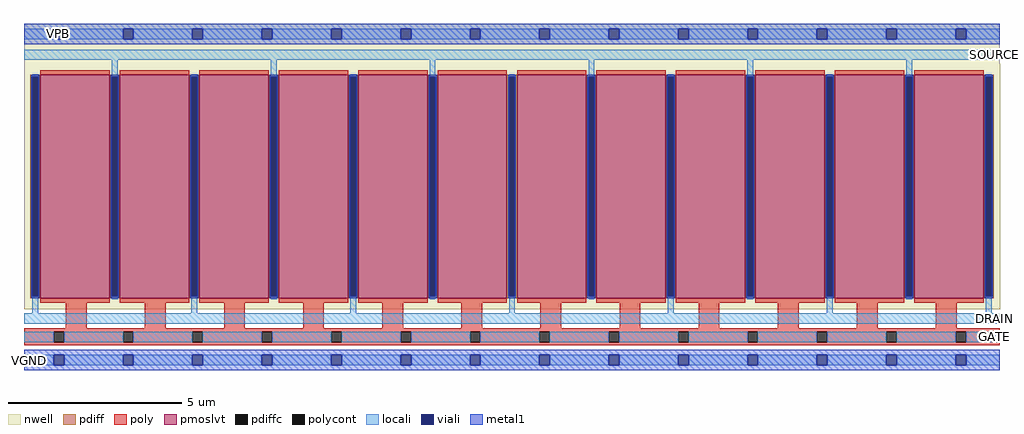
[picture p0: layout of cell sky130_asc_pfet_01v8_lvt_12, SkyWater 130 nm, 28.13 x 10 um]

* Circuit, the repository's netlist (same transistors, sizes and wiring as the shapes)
* NGSPICE file created from sky130_asc_pfet_01v8_lvt_12.ext - technology: sky130A

.subckt sky130_asc_pfet_01v8_lvt_12 GATE SOURCE DRAIN VGND VPWR
X0 SOURCE GATE DRAIN VPWR sky130_fd_pr__pfet_01v8_lvt ad=1.1223e+13p pd=8.088e+07u as=1.30935e+13p ps=9.436e+07u w=6.45e+06u l=2e+06u
X1 SOURCE GATE DRAIN VPWR sky130_fd_pr__pfet_01v8_lvt ad=0p pd=0u as=0p ps=0u w=6.45e+06u l=2e+06u
X2 DRAIN GATE SOURCE VPWR sky130_fd_pr__pfet_01v8_lvt ad=0p pd=0u as=0p ps=0u w=6.45e+06u l=2e+06u
X3 DRAIN GATE SOURCE VPWR sky130_fd_pr__pfet_01v8_lvt ad=0p pd=0u as=0p ps=0u w=6.45e+06u l=2e+06u
X4 SOURCE GATE DRAIN VPWR sky130_fd_pr__pfet_01v8_lvt ad=0p pd=0u as=0p ps=0u w=6.45e+06u l=2e+06u
X5 DRAIN GATE SOURCE VPWR sky130_fd_pr__pfet_01v8_lvt ad=0p pd=0u as=0p ps=0u w=6.45e+06u l=2e+06u
X6 DRAIN GATE SOURCE VPWR sky130_fd_pr__pfet_01v8_lvt ad=0p pd=0u as=0p ps=0u w=6.45e+06u l=2e+06u
X7 DRAIN GATE SOURCE VPWR sky130_fd_pr__pfet_01v8_lvt ad=0p pd=0u as=0p ps=0u w=6.45e+06u l=2e+06u
X8 SOURCE GATE DRAIN VPWR sky130_fd_pr__pfet_01v8_lvt ad=0p pd=0u as=0p ps=0u w=6.45e+06u l=2e+06u
X9 SOURCE GATE DRAIN VPWR sky130_fd_pr__pfet_01v8_lvt ad=0p pd=0u as=0p ps=0u w=6.45e+06u l=2e+06u
X10 DRAIN GATE SOURCE VPWR sky130_fd_pr__pfet_01v8_lvt ad=0p pd=0u as=0p ps=0u w=6.45e+06u l=2e+06u
X11 SOURCE GATE DRAIN VPWR sky130_fd_pr__pfet_01v8_lvt ad=0p pd=0u as=0p ps=0u w=6.45e+06u l=2e+06u
.ends

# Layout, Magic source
magic
tech sky130A
magscale 1 2
<< nwell >>
rect 2 1707 5626 1940
rect 1 293 5627 1707
<< pmoslvt >>
rect 95 355 495 1645
rect 553 355 953 1645
rect 1011 355 1411 1645
rect 1469 355 1869 1645
rect 1927 355 2327 1645
rect 2385 355 2785 1645
rect 2843 355 3243 1645
rect 3301 355 3701 1645
rect 3759 355 4159 1645
rect 4217 355 4617 1645
rect 4675 355 5075 1645
rect 5133 355 5533 1645
<< pdiff >>
rect 37 1633 95 1645
rect 37 367 49 1633
rect 83 367 95 1633
rect 37 355 95 367
rect 495 1633 553 1645
rect 495 367 507 1633
rect 541 367 553 1633
rect 495 355 553 367
rect 953 1633 1011 1645
rect 953 367 965 1633
rect 999 367 1011 1633
rect 953 355 1011 367
rect 1411 1633 1469 1645
rect 1411 367 1423 1633
rect 1457 367 1469 1633
rect 1411 355 1469 367
rect 1869 1633 1927 1645
rect 1869 367 1881 1633
rect 1915 367 1927 1633
rect 1869 355 1927 367
rect 2327 1633 2385 1645
rect 2327 367 2339 1633
rect 2373 367 2385 1633
rect 2327 355 2385 367
rect 2785 1633 2843 1645
rect 2785 367 2797 1633
rect 2831 367 2843 1633
rect 2785 355 2843 367
rect 3243 1633 3301 1645
rect 3243 367 3255 1633
rect 3289 367 3301 1633
rect 3243 355 3301 367
rect 3701 1633 3759 1645
rect 3701 367 3713 1633
rect 3747 367 3759 1633
rect 3701 355 3759 367
rect 4159 1633 4217 1645
rect 4159 367 4171 1633
rect 4205 367 4217 1633
rect 4159 355 4217 367
rect 4617 1633 4675 1645
rect 4617 367 4629 1633
rect 4663 367 4675 1633
rect 4617 355 4675 367
rect 5075 1633 5133 1645
rect 5075 367 5087 1633
rect 5121 367 5133 1633
rect 5075 355 5133 367
rect 5533 1633 5591 1645
rect 5533 367 5545 1633
rect 5579 367 5591 1633
rect 5533 355 5591 367
<< pdiffc >>
rect 49 367 83 1633
rect 507 367 541 1633
rect 965 367 999 1633
rect 1423 367 1457 1633
rect 1881 367 1915 1633
rect 2339 367 2373 1633
rect 2797 367 2831 1633
rect 3255 367 3289 1633
rect 3713 367 3747 1633
rect 4171 367 4205 1633
rect 4629 367 4663 1633
rect 5087 367 5121 1633
rect 5545 367 5579 1633
<< poly >>
rect 95 1645 495 1671
rect 553 1645 953 1671
rect 1011 1645 1411 1671
rect 1469 1645 1869 1671
rect 1927 1645 2327 1671
rect 2385 1645 2785 1671
rect 2843 1645 3243 1671
rect 3301 1645 3701 1671
rect 3759 1645 4159 1671
rect 4217 1645 4617 1671
rect 4675 1645 5075 1671
rect 5133 1645 5533 1671
rect 95 329 495 355
rect 553 329 953 355
rect 1011 329 1411 355
rect 1469 329 1869 355
rect 1927 329 2327 355
rect 2385 329 2785 355
rect 2843 329 3243 355
rect 3301 329 3701 355
rect 3759 329 4159 355
rect 4217 329 4617 355
rect 4675 329 5075 355
rect 5133 329 5533 355
rect 242 184 362 329
rect 698 184 818 329
rect 1154 184 1274 329
rect 1610 184 1730 329
rect 2066 184 2186 329
rect 2522 184 2642 329
rect 2978 184 3098 329
rect 3434 184 3554 329
rect 3890 184 4010 329
rect 4346 184 4466 329
rect 4802 184 4922 329
rect 5258 184 5378 329
rect 2 164 5626 184
rect 2 104 172 164
rect 232 104 572 164
rect 632 104 972 164
rect 1032 104 1372 164
rect 1432 104 1772 164
rect 1832 104 2172 164
rect 2232 104 2572 164
rect 2632 104 2972 164
rect 3032 104 3372 164
rect 3432 104 3772 164
rect 3832 104 4172 164
rect 4232 104 4572 164
rect 4632 104 4972 164
rect 5032 104 5372 164
rect 5432 104 5626 164
rect 2 84 5626 104
<< polycont >>
rect 172 104 232 164
rect 572 104 632 164
rect 972 104 1032 164
rect 1372 104 1432 164
rect 1772 104 1832 164
rect 2172 104 2232 164
rect 2572 104 2632 164
rect 2972 104 3032 164
rect 3372 104 3432 164
rect 3772 104 3832 164
rect 4172 104 4232 164
rect 4572 104 4632 164
rect 4972 104 5032 164
rect 5372 104 5432 164
<< locali >>
rect 2 1850 172 1910
rect 232 1850 572 1910
rect 632 1850 972 1910
rect 1032 1850 1372 1910
rect 1432 1850 1772 1910
rect 1832 1850 2172 1910
rect 2232 1850 2572 1910
rect 2632 1850 2972 1910
rect 3032 1850 3372 1910
rect 3432 1850 3772 1910
rect 3832 1850 4172 1910
rect 4232 1850 4572 1910
rect 4632 1850 4972 1910
rect 5032 1850 5372 1910
rect 5432 1850 5626 1910
rect 2 1730 5626 1790
rect 49 1633 83 1649
rect 49 270 83 367
rect 507 1633 541 1730
rect 507 351 541 367
rect 965 1633 999 1649
rect 965 270 999 367
rect 1423 1633 1457 1730
rect 1423 351 1457 367
rect 1881 1633 1915 1649
rect 1881 270 1915 367
rect 2339 1633 2373 1730
rect 2339 351 2373 367
rect 2797 1633 2831 1649
rect 2797 270 2831 367
rect 3255 1633 3289 1730
rect 3255 351 3289 367
rect 3713 1633 3747 1649
rect 3713 270 3747 367
rect 4171 1633 4205 1730
rect 4171 351 4205 367
rect 4629 1633 4663 1649
rect 4629 270 4663 367
rect 5087 1633 5121 1730
rect 5087 351 5121 367
rect 5545 1633 5579 1649
rect 5545 270 5579 367
rect 2 210 5626 270
rect 2 104 172 164
rect 232 104 572 164
rect 632 104 972 164
rect 1032 104 1372 164
rect 1432 104 1772 164
rect 1832 104 2172 164
rect 2232 104 2572 164
rect 2632 104 2972 164
rect 3032 104 3372 164
rect 3432 104 3772 164
rect 3832 104 4172 164
rect 4232 104 4572 164
rect 4632 104 4972 164
rect 5032 104 5372 164
rect 5432 104 5626 164
rect 2 -30 172 30
rect 232 -30 572 30
rect 632 -30 972 30
rect 1032 -30 1372 30
rect 1432 -30 1772 30
rect 1832 -30 2172 30
rect 2232 -30 2572 30
rect 2632 -30 2972 30
rect 3032 -30 3372 30
rect 3432 -30 3772 30
rect 3832 -30 4172 30
rect 4232 -30 4572 30
rect 4632 -30 4972 30
rect 5032 -30 5372 30
rect 5432 -30 5626 30
<< viali >>
rect 172 1850 232 1910
rect 572 1850 632 1910
rect 972 1850 1032 1910
rect 1372 1850 1432 1910
rect 1772 1850 1832 1910
rect 2172 1850 2232 1910
rect 2572 1850 2632 1910
rect 2972 1850 3032 1910
rect 3372 1850 3432 1910
rect 3772 1850 3832 1910
rect 4172 1850 4232 1910
rect 4572 1850 4632 1910
rect 4972 1850 5032 1910
rect 5372 1850 5432 1910
rect 49 367 83 1633
rect 507 367 541 1633
rect 965 367 999 1633
rect 1423 367 1457 1633
rect 1881 367 1915 1633
rect 2339 367 2373 1633
rect 2797 367 2831 1633
rect 3255 367 3289 1633
rect 3713 367 3747 1633
rect 4171 367 4205 1633
rect 4629 367 4663 1633
rect 5087 367 5121 1633
rect 5545 367 5579 1633
rect 172 -30 232 30
rect 572 -30 632 30
rect 972 -30 1032 30
rect 1372 -30 1432 30
rect 1772 -30 1832 30
rect 2172 -30 2232 30
rect 2572 -30 2632 30
rect 2972 -30 3032 30
rect 3372 -30 3432 30
rect 3772 -30 3832 30
rect 4172 -30 4232 30
rect 4572 -30 4632 30
rect 4972 -30 5032 30
rect 5372 -30 5432 30
<< metal1 >>
rect 2 1910 5626 1940
rect 2 1850 172 1910
rect 232 1850 572 1910
rect 632 1850 972 1910
rect 1032 1850 1372 1910
rect 1432 1850 1772 1910
rect 1832 1850 2172 1910
rect 2232 1850 2572 1910
rect 2632 1850 2972 1910
rect 3032 1850 3372 1910
rect 3432 1850 3772 1910
rect 3832 1850 4172 1910
rect 4232 1850 4572 1910
rect 4632 1850 4972 1910
rect 5032 1850 5372 1910
rect 5432 1850 5626 1910
rect 2 1820 5626 1850
rect 43 1633 89 1645
rect 43 367 49 1633
rect 83 367 89 1633
rect 43 355 89 367
rect 501 1633 547 1645
rect 501 367 507 1633
rect 541 367 547 1633
rect 501 355 547 367
rect 959 1633 1005 1645
rect 959 367 965 1633
rect 999 367 1005 1633
rect 959 355 1005 367
rect 1417 1633 1463 1645
rect 1417 367 1423 1633
rect 1457 367 1463 1633
rect 1417 355 1463 367
rect 1875 1633 1921 1645
rect 1875 367 1881 1633
rect 1915 367 1921 1633
rect 1875 355 1921 367
rect 2333 1633 2379 1645
rect 2333 367 2339 1633
rect 2373 367 2379 1633
rect 2333 355 2379 367
rect 2791 1633 2837 1645
rect 2791 367 2797 1633
rect 2831 367 2837 1633
rect 2791 355 2837 367
rect 3249 1633 3295 1645
rect 3249 367 3255 1633
rect 3289 367 3295 1633
rect 3249 355 3295 367
rect 3707 1633 3753 1645
rect 3707 367 3713 1633
rect 3747 367 3753 1633
rect 3707 355 3753 367
rect 4165 1633 4211 1645
rect 4165 367 4171 1633
rect 4205 367 4211 1633
rect 4165 355 4211 367
rect 4623 1633 4669 1645
rect 4623 367 4629 1633
rect 4663 367 4669 1633
rect 4623 355 4669 367
rect 5081 1633 5127 1645
rect 5081 367 5087 1633
rect 5121 367 5127 1633
rect 5081 355 5127 367
rect 5539 1633 5585 1645
rect 5539 367 5545 1633
rect 5579 367 5585 1633
rect 5539 355 5585 367
rect 2 30 5626 60
rect 2 -30 172 30
rect 232 -30 572 30
rect 632 -30 972 30
rect 1032 -30 1372 30
rect 1432 -30 1772 30
rect 1832 -30 2172 30
rect 2232 -30 2572 30
rect 2632 -30 2972 30
rect 3032 -30 3372 30
rect 3432 -30 3772 30
rect 3832 -30 4172 30
rect 4232 -30 4572 30
rect 4632 -30 4972 30
rect 5032 -30 5372 30
rect 5432 -30 5626 30
rect 2 -60 5626 -30
<< labels >>
flabel nwell 172 1850 232 1910 1 FreeSans 800 0 0 0 VPB
port 4 n power bidirectional
flabel metal1 2 1850 62 1910 1 FreeSans 800 0 0 0 VPWR
port 5 n power bidirectional
flabel metal1 2 -30 62 30 1 FreeSans 800 0 0 0 VGND
port 6 n ground bidirectional
flabel locali 5566 1730 5626 1790 1 FreeSans 800 0 0 0 SOURCE
port 2 n signal bidirectional
flabel locali 5566 210 5626 270 1 FreeSans 800 0 0 0 DRAIN
port 3 n signal bidirectional
flabel locali 5566 104 5626 164 1 FreeSans 800 0 0 0 GATE
port 1 n signal bidirectional
<< properties >>
string FIXED_BBOX 0 0 588 1880
string LEFclass CORE
string LEFsite unitasc
<< end >>
